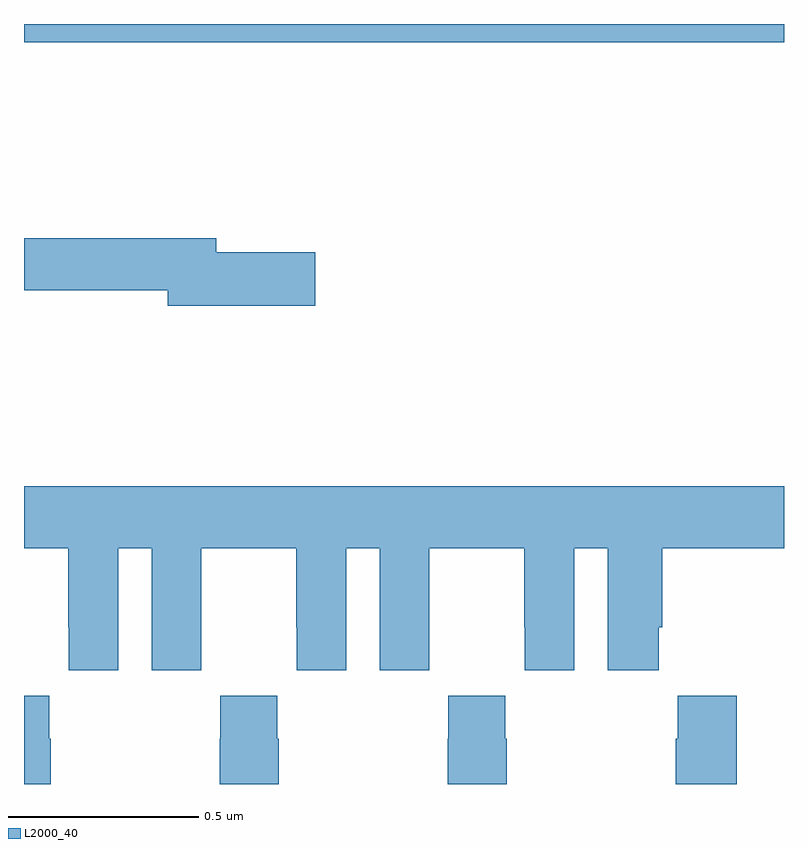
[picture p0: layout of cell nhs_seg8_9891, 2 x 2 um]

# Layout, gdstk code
import gdstk
lib = gdstk.Library(unit=1e-6, precision=1e-09)
def R(c, l, rs):  # rectangles x0, y0, x1, y1
    for r in rs: c.add(gdstk.rectangle(r[:2], r[2:], *l))
def P(c, l, *ps):  # polygons
    for p in ps: c.add(gdstk.Polygon(p, *l))
L2000_40 = (2000, 40)

nhs_seg8_9891 = lib.new_cell('nhs_seg8_9891')
R(nhs_seg8_9891, L2000_40, [(242,1097.852,244,1097.9)])
P(nhs_seg8_9891, L2000_40, [(242.767,1097.3),(242.506,1097.3),(242.506,1097.336),(242,1097.336),(242,1097.2),(242.378,1097.2),(242.378,1097.158),(242.767,1097.158)],
  [(242,1096.52),(242.117,1096.52),(242.117,1096.312),(242.118,1096.312),(242.118,1096.2),(242.248,1096.2),(242.248,1096.52),(242.336,1096.52),(242.336,1096.2),(242.466,1096.2),(242.466,1096.312),(242.467,1096.312),(242.467,1096.52),(242.717,1096.52),(242.717,1096.312),(242.718,1096.312),(242.718,1096.2),(242.848,1096.2),(242.848,1096.52),(242.936,1096.52),(242.936,1096.2),(243.066,1096.2),(243.066,1096.312),(243.067,1096.312),(243.067,1096.52),(243.317,1096.52),(243.317,1096.312),(243.318,1096.312),(243.318,1096.2),(243.448,1096.2),(243.448,1096.52),(243.536,1096.52),(243.536,1096.2),(243.67,1096.2),(243.67,1096.312),(243.68,1096.312),(243.68,1096.52),(244,1096.52),(244,1096.684),(242,1096.684)],
  [(242.67,1096.019),(242.667,1096.019),(242.667,1096.132),(242.517,1096.132),(242.517,1096.019),(242.515,1096.019),(242.515,1095.9),(242.67,1095.9)],
  [(243.27,1096.019),(243.267,1096.019),(243.267,1096.132),(243.117,1096.132),(243.117,1096.019),(243.115,1096.019),(243.115,1095.9),(243.27,1095.9)],
  [(243.875,1096.132),(243.721,1096.132),(243.721,1096.019),(243.715,1096.019),(243.715,1095.9),(243.875,1095.9)],
  [(242.07,1096.019),(242.067,1096.019),(242.067,1096.132),(242,1096.132),(242,1095.9),(242.07,1095.9)])

lib.write_gds('nhs_seg8_9891.gds')
